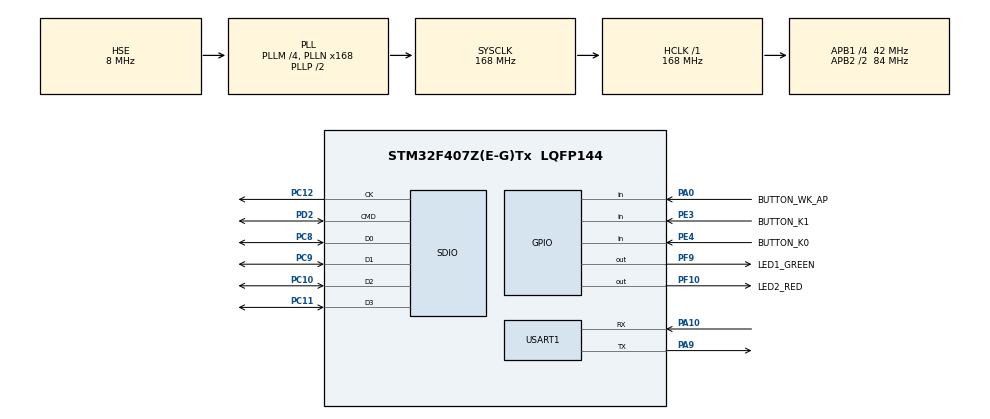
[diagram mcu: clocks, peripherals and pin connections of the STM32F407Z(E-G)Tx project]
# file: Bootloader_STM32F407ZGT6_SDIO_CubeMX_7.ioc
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FATFS._MAX_SS=4096
FATFS._USE_LFN=1
Mcu.Family=STM32F4
Mcu.Name=STM32F407Z(E-G)Tx
Mcu.Package=LQFP144
NVIC.PriorityGroup=NVIC_PRIORITYGROUP_4
PA0-WKUP.GPIO_Label=BUTTON_WK_AP
PA0-WKUP.Signal=GPIO_Input
PA10.Mode=Asynchronous
PA10.Signal=USART1_RX
PA9.Mode=Asynchronous
PA9.Signal=USART1_TX
PC10.GPIO_PuPd=GPIO_PULLUP
PC10.Mode=SD_4_bits_Wide_bus
PC10.Signal=SDIO_D2
PC11.GPIO_PuPd=GPIO_PULLUP
PC11.Mode=SD_4_bits_Wide_bus
PC11.Signal=SDIO_D3
PC12.Mode=SD_4_bits_Wide_bus
PC12.Signal=SDIO_CK
PC8.GPIO_PuPd=GPIO_PULLUP
PC8.Mode=SD_4_bits_Wide_bus
PC8.Signal=SDIO_D0
PC9.GPIO_PuPd=GPIO_PULLUP
PC9.Mode=SD_4_bits_Wide_bus
PC9.Signal=SDIO_D1
PD2.GPIO_PuPd=GPIO_PULLUP
PD2.Mode=SD_4_bits_Wide_bus
PD2.Signal=SDIO_CMD
PE3.GPIO_Label=BUTTON_K1
PE3.GPIO_PuPd=GPIO_PULLUP
PE3.Signal=GPIO_Input
PE4.GPIO_Label=BUTTON_K0
PE4.GPIO_PuPd=GPIO_PULLUP
PE4.Signal=GPIO_Input
PF10.GPIO_Label=LED2_RED
PF10.Signal=GPIO_Output
PF9.GPIO_Label=LED1_GREEN
PF9.Signal=GPIO_Output
PH0-OSC_IN.Mode=HSE-External-Oscillator
PH0-OSC_IN.Signal=RCC_OSC_IN
PH1-OSC_OUT.Mode=HSE-External-Oscillator
PH1-OSC_OUT.Signal=RCC_OSC_OUT
ProjectManager.HeapSize=0x400
ProjectManager.StackSize=0x400
ProjectManager.TargetToolchain=MDK-ARM V5.27
RCC.48MHZClocksFreq_Value=48000000
RCC.AHBFreq_Value=168000000
RCC.APB1CLKDivider=RCC_HCLK_DIV4
RCC.APB1Freq_Value=42000000
RCC.APB1TimFreq_Value=84000000
RCC.APB2CLKDivider=RCC_HCLK_DIV2
RCC.APB2Freq_Value=84000000
RCC.APB2TimFreq_Value=168000000
RCC.CortexFreq_Value=168000000
RCC.HCLKFreq_Value=168000000
RCC.HSE_VALUE=8000000
RCC.HSI_VALUE=16000000
RCC.LSE_VALUE=32768
RCC.PLLM=4
RCC.PLLN=168
RCC.PLLQ=7
RCC.PLLSourceVirtual=RCC_PLLSOURCE_HSE
RCC.SYSCLKFreq_VALUE=168000000
RCC.SYSCLKSource=RCC_SYSCLKSOURCE_PLLCLK
RCC.VCOOutputFreq_Value=336000000
USART1.VirtualMode=VM_ASYNC
VP_FATFS_VS_SDIO.Mode=SDIO
board=custom

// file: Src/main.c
/* USER CODE BEGIN Header */
/**
  ******************************************************************************
  * @file           : main.c
  * @brief          : Main program body
  ******************************************************************************
  * @attention
  *
  * <h2><center>&copy; Copyright (c) 2020 STMicroelectronics.
  * All rights reserved.</center></h2>
  *
  * This software component is licensed by ST under Ultimate Liberty license
  * SLA0044, the "License"; You may not use this file except in compliance with
  * the License. You may obtain a copy of the License at:
  *                             www.st.com/SLA0044
  *
  ******************************************************************************
  */
/* USER CODE END Header */
#include "main.h"
#include "fatfs.h"

/* USER CODE BEGIN Includes */

#include "stdint.h"   // устанавливает типы переменных типа int8_t и.т.д.
#include "string.h"   // Работа со строками
#include <stdlib.h>   // объявляет четыре типа, несколько функций общего назначения,и определяет несколько макросов.
#include <stdio.h>    // объявляет два типа, несколько макросов и множество функций для выполнение ввода и вывода.

/* USER CODE END Includes */

/* USER CODE BEGIN PTD */

/* Вывод строки в КОМ порт  */
	#ifdef __GNUC__
  /* With GCC, small printf (option LD Linker->Libraries->Small printf
     set to 'Yes') calls __io_putchar() */
  #define PUTCHAR_PROTOTYPE int __io_putchar(int ch)
#else
  #define PUTCHAR_PROTOTYPE int fputc(int ch, FILE *f)
#endif /* __GNUC__ */

/* USER CODE END PTD */

SD_HandleTypeDef hsd;

UART_HandleTypeDef huart1;

void SystemClock_Config(void);
static void MX_GPIO_Init(void);
static void MX_USART1_UART_Init(void);
static void MX_SDIO_SD_Init(void);
/* USER CODE BEGIN PFP */

void SD_UPGRADE_Process(void);

/* USER CODE END PFP */

/* USER CODE BEGIN 0 */

FATFS SDFatFs;
FIL MyFile;
char SD_Path[4];  /* SD logical drive path */

uint32_t JumpAddress;                                     // Переменная для хранения адреса выполнения основной программы
pFunction Jump_To_Application;                            // Функция перехода на выполнение основной программы
static __IO uint32_t LastPGAddress = APPLICATION_ADDRESS; // Адрес окончания программы загрузчика.
char DOWNLOAD_FILENAME[15];                               // Переменная для хранения пути и имени загружаемого bin файла

/* USER CODE END 0 */

int main(void)
{
  /* USER CODE BEGIN 1 */
	BSP_PB_Init(BUTTON_KEY0, BUTTON_MODE_GPIO);
	BSP_PB_Init(BUTTON_KEY1, BUTTON_MODE_GPIO);

	if (BSP_PB_GetState(BUTTON_KEY0) == GPIO_PIN_RESET)
  {
		sprintf(DOWNLOAD_FILENAME,"0:%s","image1.bin");
	}
	else if(BSP_PB_GetState(BUTTON_KEY1) == GPIO_PIN_RESET)
	{
		sprintf(DOWNLOAD_FILENAME,"0:%s","image2.bin");
	}
	else
  {
    /* Check Vector Table: Test if user code is programmed starting from address  "APPLICATION_ADDRESS" */
	  /* Проверить таблицу векторов: проверьте, запрограммирован ли код пользователя, начиная с адреса «APPLICATION_ADDRESS» */
    if ((((*(__IO uint32_t*)APPLICATION_ADDRESS) & 0xFF000000 ) == 0x20000000) || \
       (((*(__IO uint32_t*)APPLICATION_ADDRESS) & 0xFF000000 ) == 0x10000000))
    {
      /* Jump to user application */
      JumpAddress = *(__IO uint32_t*) (APPLICATION_ADDRESS + 4);     //извлекаем адрес перехода из вектора Reset
      Jump_To_Application = (pFunction) JumpAddress;                // приводим его к пользовательскому типу
       /* Initialize user application's Stack Pointer */
	     /* �?нициализировать указатель стека пользовательского приложения */
      __set_MSP(*(__IO uint32_t*) APPLICATION_ADDRESS);  //  устанавливаем SP приложения
      Jump_To_Application();                             //запускаем приложение
    }
  }
  /* USER CODE END 1 */

  /* MCU Configuration--------------------------------------------------------*/

  /* Reset of all peripherals, Initializes the Flash interface and the Systick. */
  HAL_Init();

  /* Configure the system clock */
  SystemClock_Config();

  /* Initialize all configured peripherals */
  MX_GPIO_Init();
  MX_USART1_UART_Init();
  MX_SDIO_SD_Init();
  MX_FATFS_Init();
  /* USER CODE BEGIN 2 */

  printf("\n\r UART Printf Example: retarget the C library printf function to the UART\n\r");
	BSP_LED_Off(LED1);
	BSP_LED_Off(LED2);

//	HAL_Delay(500);
//	BSP_LED_On(LED1);
//	BSP_LED_On(LED2);
//	HAL_Delay(500);
//	BSP_LED_Off(LED1);
//	BSP_LED_Off(LED2);
//	HAL_Delay(500);
//	BSP_LED_On(LED1);
//	BSP_LED_On(LED2);
//	HAL_Delay(500);
//	BSP_LED_Off(LED1);
//	BSP_LED_Off(LED2);
//	HAL_Delay(500);
SD_UPGRADE_Process();

  /* USER CODE END 2 */

  /* Infinite loop */
  while (1)
  {

  }
}

void SystemClock_Config(void)
{
  RCC_OscInitTypeDef RCC_OscInitStruct = {0};
  RCC_ClkInitTypeDef RCC_ClkInitStruct = {0};

  /** Configure the main internal regulator output voltage
  */
  __HAL_RCC_PWR_CLK_ENABLE();
  __HAL_PWR_VOLTAGESCALING_CONFIG(PWR_REGULATOR_VOLTAGE_SCALE1);

  /** Initializes the RCC Oscillators according to the specified parameters
  * in the RCC_OscInitTypeDef structure.
  */
  RCC_OscInitStruct.OscillatorType = RCC_OSCILLATORTYPE_HSE;
  RCC_OscInitStruct.HSEState = RCC_HSE_ON;
  RCC_OscInitStruct.PLL.PLLState = RCC_PLL_ON;
  RCC_OscInitStruct.PLL.PLLSource = RCC_PLLSOURCE_HSE;
  RCC_OscInitStruct.PLL.PLLM = 4;
  RCC_OscInitStruct.PLL.PLLN = 168;
  RCC_OscInitStruct.PLL.PLLP = RCC_PLLP_DIV2;
  RCC_OscInitStruct.PLL.PLLQ = 7;
  if (HAL_RCC_OscConfig(&RCC_OscInitStruct) != HAL_OK)
  {
    Error_Handler();
  }

  /** Initializes the CPU, AHB and APB buses clocks
  */
  RCC_ClkInitStruct.ClockType = RCC_CLOCKTYPE_HCLK|RCC_CLOCKTYPE_SYSCLK
                              |RCC_CLOCKTYPE_PCLK1|RCC_CLOCKTYPE_PCLK2;
  RCC_ClkInitStruct.SYSCLKSource = RCC_SYSCLKSOURCE_PLLCLK;
  RCC_ClkInitStruct.AHBCLKDivider = RCC_SYSCLK_DIV1;
  RCC_ClkInitStruct.APB1CLKDivider = RCC_HCLK_DIV4;
  RCC_ClkInitStruct.APB2CLKDivider = RCC_HCLK_DIV2;

  if (HAL_RCC_ClockConfig(&RCC_ClkInitStruct, FLASH_LATENCY_5) != HAL_OK)
  {
    Error_Handler();
  }
}

static void MX_SDIO_SD_Init(void)
{

  hsd.Instance = SDIO;
  hsd.Init.ClockEdge = SDIO_CLOCK_EDGE_RISING;
  hsd.Init.ClockBypass = SDIO_CLOCK_BYPASS_DISABLE;
  hsd.Init.ClockPowerSave = SDIO_CLOCK_POWER_SAVE_DISABLE;
  hsd.Init.BusWide = SDIO_BUS_WIDE_4B;
  hsd.Init.HardwareFlowControl = SDIO_HARDWARE_FLOW_CONTROL_DISABLE;
  hsd.Init.ClockDiv = 0;

}

static void MX_USART1_UART_Init(void)
{

  huart1.Instance = USART1;
  huart1.Init.BaudRate = 115200;
  huart1.Init.WordLength = UART_WORDLENGTH_8B;
  huart1.Init.StopBits = UART_STOPBITS_1;
  huart1.Init.Parity = UART_PARITY_NONE;
  huart1.Init.Mode = UART_MODE_TX_RX;
  huart1.Init.HwFlowCtl = UART_HWCONTROL_NONE;
  huart1.Init.OverSampling = UART_OVERSAMPLING_16;
  if (HAL_UART_Init(&huart1) != HAL_OK)
  {
    Error_Handler();
  }

}

static void MX_GPIO_Init(void)
{
  GPIO_InitTypeDef GPIO_InitStruct = {0};

  /* GPIO Ports Clock Enable */
  __HAL_RCC_GPIOE_CLK_ENABLE();
  __HAL_RCC_GPIOF_CLK_ENABLE();
  __HAL_RCC_GPIOH_CLK_ENABLE();
  __HAL_RCC_GPIOA_CLK_ENABLE();
  __HAL_RCC_GPIOC_CLK_ENABLE();
  __HAL_RCC_GPIOD_CLK_ENABLE();

  /*Configure GPIO pin Output Level */
  HAL_GPIO_WritePin(GPIOF, LED1_GREEN_Pin|LED2_RED_Pin, GPIO_PIN_RESET);

  /*Configure GPIO pins : BUTTON_K1_Pin BUTTON_K0_Pin */
  GPIO_InitStruct.Pin = BUTTON_K1_Pin|BUTTON_K0_Pin;
  GPIO_InitStruct.Mode = GPIO_MODE_INPUT;
  GPIO_InitStruct.Pull = GPIO_PULLUP;
  HAL_GPIO_Init(GPIOE, &GPIO_InitStruct);

  /*Configure GPIO pins : LED1_GREEN_Pin LED2_RED_Pin */
  GPIO_InitStruct.Pin = LED1_GREEN_Pin|LED2_RED_Pin;
  GPIO_InitStruct.Mode = GPIO_MODE_OUTPUT_PP;
  GPIO_InitStruct.Pull = GPIO_NOPULL;
  GPIO_InitStruct.Speed = GPIO_SPEED_FREQ_LOW;
  HAL_GPIO_Init(GPIOF, &GPIO_InitStruct);

  /*Configure GPIO pin : BUTTON_WK_AP_Pin */
  GPIO_InitStruct.Pin = BUTTON_WK_AP_Pin;
  GPIO_InitStruct.Mode = GPIO_MODE_INPUT;
  GPIO_InitStruct.Pull = GPIO_NOPULL;
  HAL_GPIO_Init(BUTTON_WK_AP_GPIO_Port, &GPIO_InitStruct);

}

/* USER CODE BEGIN 4 */

/* Вывод строки в КОМ порт  */
PUTCHAR_PROTOTYPE
{
  /* Place your implementation of fputc here */
  /* e.g. write a character to the EVAL_COM1 and Loop until the end of transmission */
  HAL_UART_Transmit(&huart1, (uint8_t *)&ch, 1, 0xFFFF);

  return ch;
}

void SD_UPGRADE_Process(void)
{
	if(f_mount(&SDFatFs,(TCHAR const*)SD_Path,0)!=FR_OK)
	{
		Error_Handler();
	}
	else
	{
		// Проверяем наличие файла прошивки на SD карте
	 if(f_open(&MyFile, DOWNLOAD_FILENAME, FA_READ) == FR_OK)
		{
			printf("The binary file:%s",DOWNLOAD_FILENAME);   // Файл прошивки обнаружен. Начинаем прошивку.
			printf(" is available! \r\n");
			BSP_LED_On(LED1);
			BSP_LED_On(LED2);
			printf("COMMAND_Download\n\r");
			COMMAND_Download();
		}
		else
		{
			 printf("Program flash memory not found \n");
			 printf("The binary file is not available \r\n");
			 Error_Handler();
		}
	}
}
/* USER CODE END 4 */

void Error_Handler(void)
{
  /* USER CODE BEGIN Error_Handler_Debug */
  /* User can add his own implementation to report the HAL error return state */
   while(1)
    {
      /* Toggle LED2, LED3 and LED4 */
      BSP_LED_Toggle(LED2);
      BSP_LED_Toggle(LED1);
      HAL_Delay(300);
    }
  /* USER CODE END Error_Handler_Debug */
}
